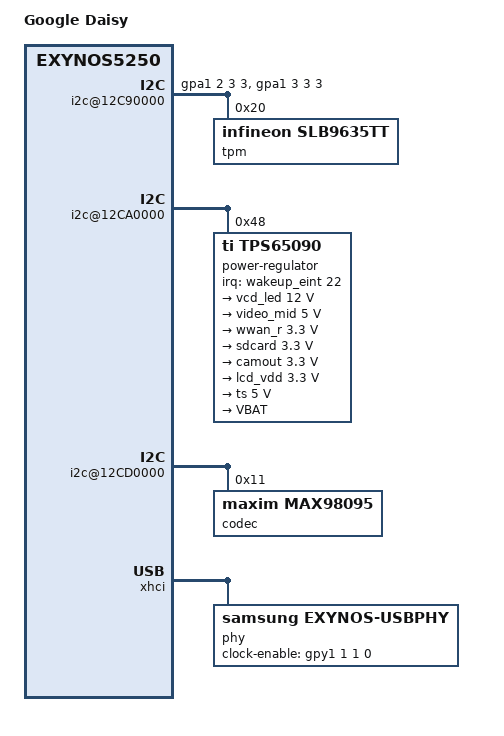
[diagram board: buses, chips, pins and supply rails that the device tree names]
/*
 * Google Daisy board device tree source
 *
 * Copyright (c) 2012 Google, Inc
 *
 * This program is free software; you can redistribute it and/or modify
 * it under the terms of the GNU General Public License version 2 as
 * published by the Free Software Foundation.
*/

/dts-v1/;
/include/ "exynos5250.dtsi"
/include/ "cros5250-common.dtsi"

/ {
	model = "Google Daisy";
	compatible = "google,daisy", "samsung,exynos5250";

	sromc-bus {
		lan9215@3,0 {
			compatible = "smsc,lan9215", "smsc,lan9115";
			reg = <3 0 0x20000>;
			interrupts = <5 0>;
			interrupt-parent = <&wakeup_eint>;
			phy-mode = "mii";
			smsc,irq-push-pull;
			smsc,force-internal-phy;
			local-mac-address = [00 80 00 23 45 67];
		};
	};

	display-port-controller {
		status = "disabled";
	};

	/*
	 * On Daisy WiFi hooks up through a connector so keep a high drive
	 * strength for safety.
	 *
	 * TODO: Test various drive strengths and see what's really needed
	 */
	dwmmc3@12230000 {
		slot0 {
			gpios = <&gpc4 1 2 3 3>, <&gpc4 0 2 0 3>,
				<&gpc4 3 2 3 3>, <&gpc4 4 2 3 3>,
				<&gpc4 5 2 3 3>, <&gpc4 6 2 3 3>;
		};
	};

	i2c@12C90000 {
		samsung,i2c-sda-delay = <100>;
		samsung,i2c-max-bus-freq = <66000>;
		gpios = <&gpa1 2 3 3 0>,
			<&gpa1 3 3 3 0>;

		tpm {
			compatible = "infineon,slb9635tt";
			reg = <0x20>;
		};
	};

	i2c@12CA0000 {
		power-regulator {
			compatible = "ti,tps65090";
			reg = <0x48>;
			interrupts = <22 0>;
			interrupt-parent = <&wakeup_eint>;
		        no-ack-irq;

			voltage-regulators {
				VFET1 {
					tps65090-control-reg-offset = <15>;
					tps65090-overcurrent-wait = <3>;
					regulator-name = "vcd_led";
					regulator-min-microvolt = <12000000>;
					regulator-max-microvolt = <12000000>;
				};
				VFET2 {
					tps65090-control-reg-offset = <16>;
					tps65090-overcurrent-wait = <3>;
					regulator-name = "video_mid";
					regulator-min-microvolt = <5000000>;
					regulator-max-microvolt = <5000000>;
					regulator-always-on;
				};
				VFET3 {
					tps65090-control-reg-offset = <17>;
					tps65090-overcurrent-wait = <3>;
					regulator-name = "wwan_r";
					regulator-min-microvolt = <3300000>;
					regulator-max-microvolt = <3300000>;
					regulator-always-on;
				};
				VFET4 {
					tps65090-control-reg-offset = <18>;
					tps65090-overcurrent-wait = <3>;
					regulator-name = "sdcard";
					regulator-min-microvolt = <3300000>;
					regulator-max-microvolt = <3300000>;
				};
				VFET5 {
					tps65090-control-reg-offset = <19>;
					tps65090-overcurrent-wait = <3>;
					regulator-name = "camout";
					regulator-min-microvolt = <3300000>;
					regulator-max-microvolt = <3300000>;
					regulator-always-on;
				};
				VFET6 {
					tps65090-control-reg-offset = <20>;
					tps65090-overcurrent-wait = <3>;
					regulator-name = "lcd_vdd";
					regulator-min-microvolt = <3300000>;
					regulator-max-microvolt = <3300000>;
				};
				VFET7 {
					tps65090-control-reg-offset = <21>;
					tps65090-overcurrent-wait = <3>;
					regulator-name = "ts";
					regulator-min-microvolt = <5000000>;
					regulator-max-microvolt = <5000000>;
				};
				VBAT: charger {
					tps65090-control-reg-offset = <4>;
					regulator-name = "vinchg";
				};
			};
		};
	};

	i2c@12CD0000 {
		codec {
			compatible = "maxim,max98095";
			reg = <0x11>;
			mic-left-digital;
			mic-right-digital;
		};
	};

	sound {
		compatible = "google,daisy-audio-max98095";
	};

	xhci {
		phy {
			compatible = "samsung,exynos-usbphy";
			clock-enable-gpio = <&gpy1 1 1 0 3>;
		};
	};
};
